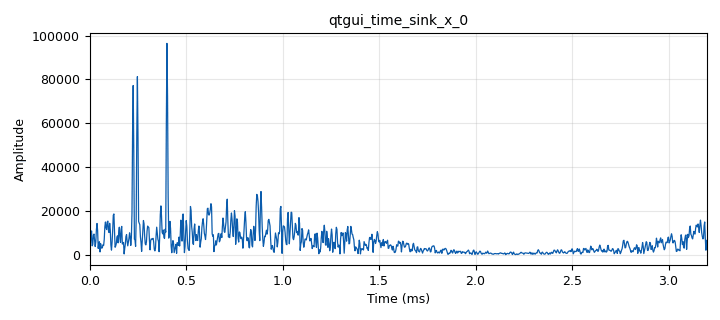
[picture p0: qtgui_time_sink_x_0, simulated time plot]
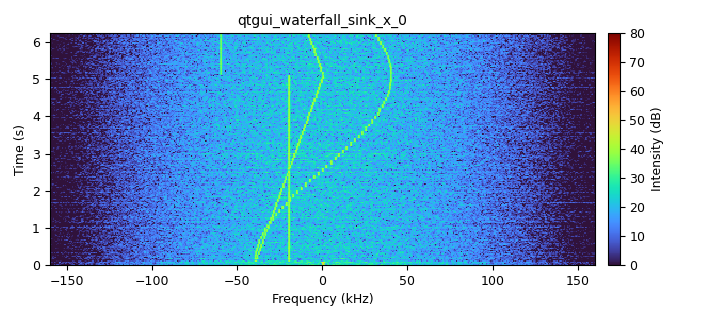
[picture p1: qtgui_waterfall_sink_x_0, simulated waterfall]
options:
  parameters:
    author: emmanuelkwakyenyantakyi
    generate_options: qt_gui
    id: cross_corr_delay_using_function_probe_4_2
    output_language: python
    title: Demonstration of linearity of correlation...
  states: {}

blocks:
- name: D0
  id: variable_function_probe
  parameters:
    block_id: probe0
    function_name: level
    poll_rate: '10'
    value: '0'
  states: {}
- name: D1
  id: variable_function_probe
  parameters:
    block_id: probe1
    function_name: level
    poll_rate: '10'
    value: '0'
  states: {}
- name: D2
  id: variable_function_probe
  parameters:
    block_id: probe2
    function_name: level
    poll_rate: '10'
    value: '0'
  states: {}
- name: N
  id: variable
  parameters:
    value: '1024'
  states: {}
- name: samp_rate
  id: variable
  parameters:
    value: '320000'
  states: {}
- name: analog_noise_source_x_0
  id: analog_noise_source_x
  parameters:
    amp: '1'
    noise_type: analog.GR_GAUSSIAN
    seed: '0'
    type: complex
  states: {}
- name: analog_sig_source_x_0
  id: analog_sig_source_x
  parameters:
    amp: '128'
    comment: Delay 0 generator
    freq: '0.1'
    offset: '0'
    phase: '0'
    samp_rate: samp_rate
    type: int
    waveform: analog.GR_TRI_WAVE
  states: {}
- name: analog_sig_source_x_1
  id: analog_sig_source_x
  parameters:
    amp: '128'
    comment: Delay 2 generator
    freq: '0.1'
    offset: '0'
    phase: '0'
    samp_rate: samp_rate
    type: int
    waveform: analog.GR_COS_WAVE
  states: {}
- name: analog_sig_source_x_2
  id: analog_sig_source_x
  parameters:
    amp: '128'
    comment: Delay 1 generator
    freq: '0.1'
    offset: '64'
    phase: '0'
    samp_rate: samp_rate
    type: int
    waveform: analog.GR_SQR_WAVE
  states: {}
- name: blocks_add_xx_0
  id: blocks_add_xx
  parameters:
    comment: Surveillance antenna
    num_inputs: '3'
    type: complex
    vlen: N
  states: {}
- name: blocks_complex_to_mag_0
  id: blocks_complex_to_mag
  parameters:
    vlen: N
  states: {}
- name: blocks_delay_0
  id: blocks_delay
  parameters:
    comment: Delay 0
    delay: D0
    type: complex
  states: {}
- name: blocks_delay_0_0
  id: blocks_delay
  parameters:
    comment: Delay 1
    delay: D1
    type: complex
  states: {}
- name: blocks_delay_0_1
  id: blocks_delay
  parameters:
    comment: Delay 2
    delay: D2
    type: complex
  states: {}
- name: blocks_multiply_conjugate_cc_0
  id: blocks_multiply_conjugate_cc
  parameters:
    comment: |-
      Cross correlation of reference
      signal and surveillance signals
    vlen: N
  states: {}
- name: blocks_stream_to_vector_0
  id: blocks_stream_to_vector
  parameters:
    num_items: N
    type: complex
  states: {}
- name: blocks_stream_to_vector_0_0
  id: blocks_stream_to_vector
  parameters:
    num_items: N
    type: complex
  states: {}
- name: blocks_stream_to_vector_0_1
  id: blocks_stream_to_vector
  parameters:
    num_items: N
    type: complex
  states: {}
- name: blocks_stream_to_vector_0_2
  id: blocks_stream_to_vector
  parameters:
    num_items: N
    type: complex
  states: {}
- name: blocks_throttle2_0
  id: blocks_throttle2
  parameters:
    samples_per_second: samp_rate
    type: int
  states: {}
- name: blocks_throttle2_1
  id: blocks_throttle2
  parameters:
    samples_per_second: samp_rate
    type: complex
  states: {}
- name: blocks_throttle2_2
  id: blocks_throttle2
  parameters:
    samples_per_second: samp_rate
    type: int
  states: {}
- name: blocks_throttle2_3
  id: blocks_throttle2
  parameters:
    samples_per_second: samp_rate
    type: int
  states: {}
- name: blocks_vector_to_stream_0
  id: blocks_vector_to_stream
  parameters:
    num_items: N
    type: complex
  states: {}
- name: blocks_vector_to_stream_1
  id: blocks_vector_to_stream
  parameters:
    num_items: N
    type: float
  states: {}
- name: fft_vxx_0
  id: fft_vxx
  parameters:
    fft_size: '1024'
    forward: 'True'
    shift: 'True'
    type: complex
    window: window.blackmanharris(1024)
  states: {}
- name: fft_vxx_1
  id: fft_vxx
  parameters:
    fft_size: '1024'
    forward: 'False'
    shift: 'True'
    type: complex
    window: window.blackmanharris(1024)
  states: {}
- name: fft_vxx_1_0
  id: fft_vxx
  parameters:
    fft_size: '1024'
    forward: 'False'
    shift: 'True'
    type: complex
    window: window.blackmanharris(1024)
  states: {}
- name: probe0
  id: blocks_probe_signal_x
  parameters:
    type: int
  states: {}
- name: probe1
  id: blocks_probe_signal_x
  parameters:
    type: int
  states: {}
- name: probe2
  id: blocks_probe_signal_x
  parameters:
    type: int
  states: {}
- name: qtgui_time_sink_x_0
  id: qtgui_time_sink_x
  parameters:
    autoscale: 'True'
    size: '1024'
    srate: samp_rate
    type: float
  states: {}
- name: qtgui_waterfall_sink_x_0
  id: qtgui_waterfall_sink_x
  parameters:
    bw: samp_rate
    fc: '0'
    fftsize: '1024'
    int_max: '80'
    int_min: '0'
    type: complex
  states: {}

connections:
- [analog_noise_source_x_0, '0', blocks_throttle2_1, '0']
- [analog_sig_source_x_0, '0', blocks_throttle2_3, '0']
- [analog_sig_source_x_1, '0', blocks_throttle2_0, '0']
- [analog_sig_source_x_2, '0', blocks_throttle2_2, '0']
- [blocks_add_xx_0, '0', fft_vxx_1_0, '0']
- [blocks_complex_to_mag_0, '0', blocks_vector_to_stream_1, '0']
- [blocks_delay_0, '0', blocks_stream_to_vector_0_2, '0']
- [blocks_delay_0_0, '0', blocks_stream_to_vector_0_1, '0']
- [blocks_delay_0_1, '0', blocks_stream_to_vector_0_0, '0']
- [blocks_multiply_conjugate_cc_0, '0', blocks_vector_to_stream_0, '0']
- [blocks_multiply_conjugate_cc_0, '0', fft_vxx_0, '0']
- [blocks_stream_to_vector_0, '0', fft_vxx_1, '0']
- [blocks_stream_to_vector_0_0, '0', blocks_add_xx_0, '2']
- [blocks_stream_to_vector_0_1, '0', blocks_add_xx_0, '1']
- [blocks_stream_to_vector_0_2, '0', blocks_add_xx_0, '0']
- [blocks_throttle2_0, '0', probe2, '0']
- [blocks_throttle2_1, '0', blocks_delay_0, '0']
- [blocks_throttle2_1, '0', blocks_delay_0_0, '0']
- [blocks_throttle2_1, '0', blocks_delay_0_1, '0']
- [blocks_throttle2_1, '0', blocks_stream_to_vector_0, '0']
- [blocks_throttle2_2, '0', probe1, '0']
- [blocks_throttle2_3, '0', probe0, '0']
- [blocks_vector_to_stream_0, '0', qtgui_waterfall_sink_x_0, '0']
- [blocks_vector_to_stream_1, '0', qtgui_time_sink_x_0, '0']
- [fft_vxx_0, '0', blocks_complex_to_mag_0, '0']
- [fft_vxx_1, '0', blocks_multiply_conjugate_cc_0, '0']
- [fft_vxx_1_0, '0', blocks_multiply_conjugate_cc_0, '1']

metadata:
  file_format: 1
  grc_version: 3.10.12.0
